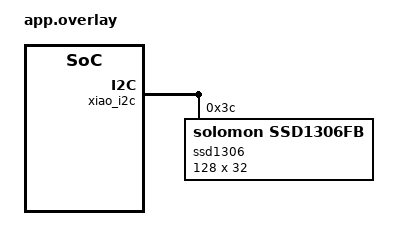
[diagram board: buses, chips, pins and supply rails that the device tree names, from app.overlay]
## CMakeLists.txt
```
cmake_minimum_required(VERSION 3.20.0)

# M1 bring-up app for the XIAO nRF54LM20A OLED variant.
# Kept separate from the main nRF52840 firmware (src/main.cpp) until M4, when
# the two boards converge behind Kconfig guards.

find_package(Zephyr REQUIRED HINTS $ENV{ZEPHYR_BASE})
project(nrf54_bringup)

target_sources(app PRIVATE
    src/main.cpp
    ${CMAKE_CURRENT_SOURCE_DIR}/../../src/display_oled.cpp
)
target_include_directories(app PRIVATE ${CMAKE_CURRENT_SOURCE_DIR}/../../src)
```

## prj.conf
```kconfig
# M1 bring-up: console + OLED only.
CONFIG_CPP=y
CONFIG_STD_CPP17=y

# Logging over the console UART
CONFIG_LOG=y
CONFIG_LOG_MODE_IMMEDIATE=y

# Serial console + interrupt-driven single-letter commands (standing rule)
CONFIG_SERIAL=y
CONFIG_CONSOLE=y
CONFIG_UART_CONSOLE=y
CONFIG_UART_INTERRUPT_DRIVEN=y
CONFIG_REBOOT=y

# GPIO + I2C + display (SSD1306 via CFB)
CONFIG_GPIO=y
CONFIG_I2C=y
CONFIG_DISPLAY=y
CONFIG_SSD1306=y
CONFIG_CHARACTER_FRAMEBUFFER=y

# CFB allocates its framebuffer from the system heap (k_malloc).
CONFIG_HEAP_MEM_POOL_SIZE=4096
```

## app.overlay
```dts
/*
 * SSD1306 0.91" (128x32) OLED on the XIAO header I2C bus (xiao_i2c = i2c22,
 * SDA = D9/P1.05, SCL = D10/P1.06 -- remapped for neat right-edge wiring).
 * Standard 128x32 SSD1306 timing values.
 * VERIFY on HW: I2C address (0x3C vs 0x3D) and geometry (128x32 vs 128x64).
 */

/ {
	chosen {
		zephyr,display = &ssd1306;
	};
};

&xiao_i2c {
	status = "okay";
	/* concat-buf-size for the framebuffer write lives in the board dtsi. */

	ssd1306: ssd1306@3c {
		compatible = "solomon,ssd1306fb";
		reg = <0x3c>;
		width = <128>;
		height = <32>;
		segment-offset = <0>;
		page-offset = <0>;
		display-offset = <0>;
		multiplex-ratio = <31>;   /* height - 1 */
		segment-remap;
		com-invdir;
		com-sequential;           /* 128x32 uses sequential COM pins */
		prechargep = <0x22>;
		/* Color inversion done in software (cfb_framebuffer_invert). */
	};
};
```

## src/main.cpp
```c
/*
 * nRF54LM20A OLED variant -- M1 bring-up app.
 *
 * Proves the custom board definition boots, the serial console works, and the
 * SSD1306 OLED renders text. No PMIC/sensor/BLE code (VOUT2 is autonomous, so
 * the CPU boots without touching the PMIC -- see docs/nrf54lm20a-board.md).
 *
 * Serial console (standing project rule -- every firmware/test app has these):
 *   r  reboot (sys_reboot COLD)
 *   b  UF2 bootloader -- N/A on nRF54L (no Adafruit UF2 loader); documented no-op
 */
#include <zephyr/kernel.h>
#include <zephyr/device.h>
#include <zephyr/drivers/uart.h>
#include <zephyr/sys/reboot.h>
#include <zephyr/logging/log.h>

#include "display_oled.h"

LOG_MODULE_REGISTER(main, LOG_LEVEL_INF);

static const struct device *const console_dev =
	DEVICE_DT_GET(DT_CHOSEN(zephyr_console));

/* Interrupt-driven single-letter console. */
static void uart_rx_cb(const struct device *dev, void *user_data)
{
	ARG_UNUSED(user_data);
	uint8_t c;

	if (!uart_irq_update(dev) || !uart_irq_rx_ready(dev)) {
		return;
	}

	while (uart_fifo_read(dev, &c, 1) == 1) {
		switch (c) {
		case 'r':
			LOG_INF("reboot (cold)");
			sys_reboot(SYS_REBOOT_COLD);
			break;
		case 'b':
			/* nRF54L has no UF2 mass-storage bootloader; flashing is
			 * via the SAMD11 SWD bridge. Cold-reboot instead so the
			 * command is never a silent no-op. */
			LOG_INF("no UF2 bootloader on nRF54L -- rebooting cold; "
				"use `west flash` (SWD) to reflash");
			sys_reboot(SYS_REBOOT_COLD);
			break;
		default:
			break;
		}
	}
}

int main(void)
{
	LOG_INF("=== gestureband nRF54LM20A OLED variant -- M1 bring-up ===");

	if (!device_is_ready(console_dev)) {
		LOG_ERR("console device not ready");
	} else {
		uart_irq_callback_user_data_set(console_dev, uart_rx_cb, NULL);
		uart_irq_rx_enable(console_dev);
		LOG_INF("console ready: 'r' reboot, 'b' bootloader-info");
	}

	int rc = display_oled_init();
	if (rc == 0) {
		display_oled_show("gestureband", "OLED v1 M1");
		LOG_INF("OLED banner shown");
	} else {
		LOG_ERR("OLED init failed: %d (check I2C wiring/addr)", rc);
	}

	/* Heartbeat so the serial log shows the board is alive. */
	uint32_t beat = 0;
	while (1) {
		LOG_INF("alive %u", beat++);
		k_sleep(K_SECONDS(5));
	}
	return 0;
}
```
